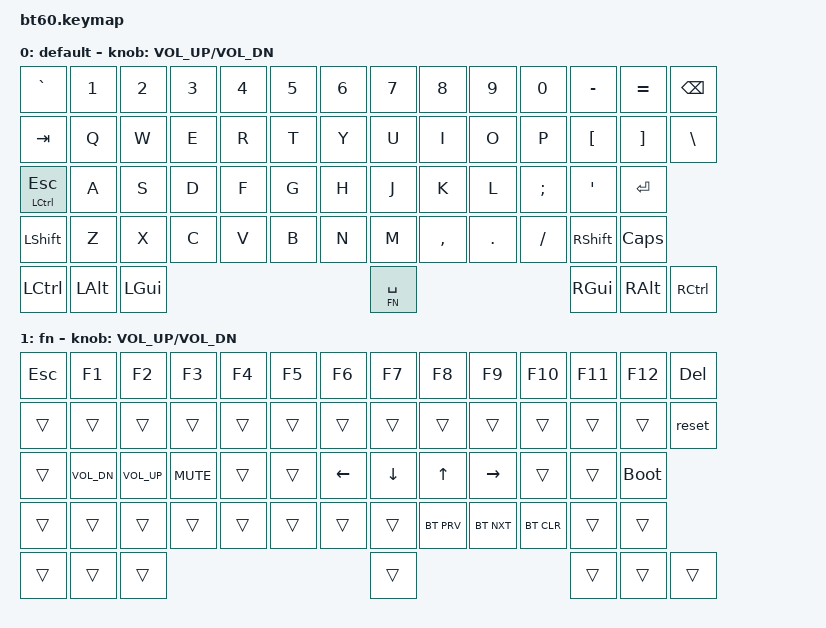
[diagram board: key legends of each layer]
#include <behaviors.dtsi>
#include <dt-bindings/zmk/keys.h>
#include <dt-bindings/zmk/bt.h>
#include <dt-bindings/zmk/rgb.h>
#include <dt-bindings/zmk/backlight.h>

#define DEFAULT 0
#define FN 1


/ {
	keymap {
		compatible = "zmk,keymap";

		default_layer {
          label = "default";
          bindings = <
            &kp GRAVE     &kp N1          &kp N2          &kp N3        &kp N4    &kp N5    &kp N6    &kp N7    &kp  N8      &kp  N9     &kp  N0       &kp MINUS     &kp EQUAL          &kp BSPC
            &kp TAB       &kp Q           &kp W           &kp E         &kp R     &kp T     &kp Y     &kp U     &kp  I       &kp  O      &kp  P        &kp LBKT      &kp RBKT           &kp BSLH
            &mt LCTRL ESC &kp A           &kp S           &kp D         &kp F     &kp G     &kp H     &kp J     &kp  K       &kp  L      &kp SEMI      &kp SQT       &kp RET
            &kp LSHFT     &kp Z           &kp X           &kp C         &kp V     &kp B     &kp N     &kp M     &kp COMMA    &kp DOT     &kp FSLH      &kp RSHFT     &kp CAPS
            &kp LCTRL     &kp LALT        &kp LGUI                                                    &lt FN SPACE                                     &kp RGUI      &kp RALT           &kp RCTRL
			>;
          sensor-bindings = <&inc_dec_kp C_VOL_UP C_VOL_DN>;
		};
		fn_layer {
          label = "fn";
          bindings = <
            &kp ESC       &kp F1          &kp F2          &kp F3        &kp F4    &kp F5    &kp F6    &kp F7    &kp F8       &kp F9      &kp F10       &kp F11       &kp F12            &kp DEL
            &trans        &trans          &trans          &trans        &trans    &trans    &trans    &trans    &trans       &trans      &trans        &trans        &trans             &reset
            &trans        &kp C_VOL_DN    &kp C_VOL_UP    &kp C_MUTE    &trans    &trans    &kp LEFT  &kp DOWN  &kp UP       &kp RIGHT   &trans        &trans        &bootloader
            &trans        &trans          &trans          &trans        &trans    &trans    &trans    &trans    &bt BT_PRV   &bt BT_NXT  &bt BT_CLR    &trans        &trans
            &trans        &trans          &trans                                                      &trans                                           &trans        &trans             &trans
			>;
          sensor-bindings = <&inc_dec_kp C_VOL_UP C_VOL_DN>;
		};
	};
};
